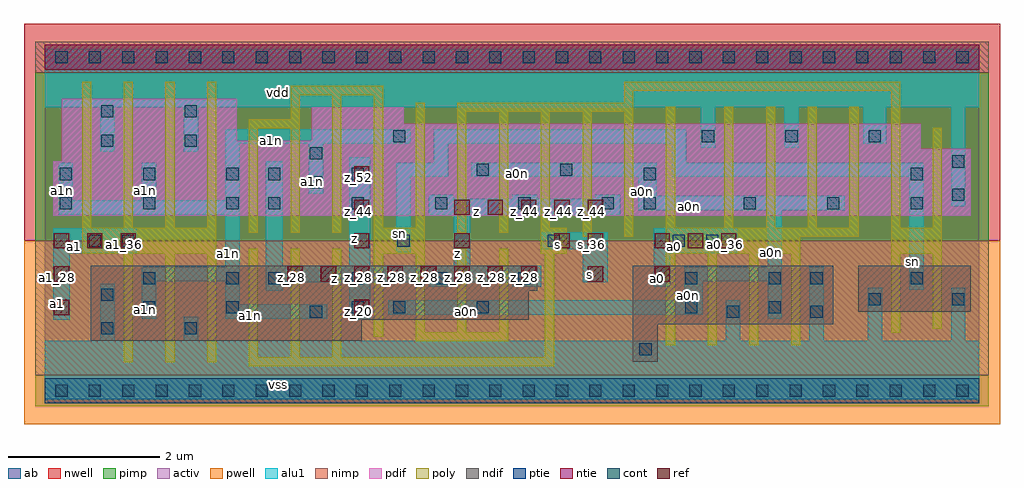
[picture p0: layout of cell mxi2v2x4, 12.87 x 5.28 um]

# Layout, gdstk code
import gdstk
lib = gdstk.Library(unit=1e-6, precision=2.5e-09)
def R(c, l, rs):  # rectangles x0, y0, x1, y1
    for r in rs: c.add(gdstk.rectangle(r[:2], r[2:], *l))
def A(c, l, x, y, w, h, nx, ny, dx, dy):  # array of equal rectangles
    R(c, l, [(x+i*dx, y+j*dy, x+i*dx+w, y+j*dy+h) for i in range(nx) for j in range(ny)])
ndif = (3, 0)
pdif = (4, 0)
ntie = (5, 0)
ptie = (6, 0)
ref = (24, 0)
cont = (25, 0)
pwell = (41, 0)
nwell = (42, 0)
activ = (43, 0)
pimp = (44, 0)
nimp = (45, 0)
poly = (46, 0)
alu1 = (49, 0)
ab = (63, 0)

mxi2v2x4 = lib.new_cell('mxi2v2x4')
R(mxi2v2x4, ndif, [(7.755,0.385,8.085,0.88), (0.605,0.66,4.18,0.935), (7.755,0.88,10.395,1.65), (0.605,0.935,6.38,1.32), (10.725,1.045,12.21,1.65), (0.605,1.32,6.49,1.65)])
R(mxi2v2x4, pdif, [(0.11,2.31,12.21,3.025), (0.22,3.025,12.21,3.19), (0.22,3.19,11.55,3.3), (0.22,3.3,2.53,3.85), (3.52,3.3,11.55,3.52), (3.52,3.52,4.73,3.74)])
R(mxi2v2x4, ntie, [(0,4.235,12.32,4.565)])
R(mxi2v2x4, ptie, [(0,-0.165,12.32,0.165)])
A(mxi2v2x4, ref, 3.2, 1.44, 0.2, 0.2, 8, 1, 0.44, 0)
A(mxi2v2x4, ref, 0.12, 1.88, 0.2, 0.2, 3, 1, 0.44, 0)
A(mxi2v2x4, ref, 4.08, 1.88, 0.2, 0.2, 3, 1, 1.32, 0)
A(mxi2v2x4, ref, 8.04, 1.88, 0.2, 0.2, 3, 1, 0.44, 0)
A(mxi2v2x4, ref, 5.4, 2.32, 0.2, 0.2, 5, 1, 0.44, 0)
R(mxi2v2x4, ref, [(0.12,1,0.32,1.2), (4.08,1,4.28,1.2), (0.12,1.44,0.32,1.64), (7.16,1.44,7.36,1.64), (8.04,1.44,8.24,1.64), (7.16,1.88,7.36,2.08), (4.08,2.32,4.28,2.52), (4.08,2.76,4.28,2.96)])
A(mxi2v2x4, cont, 0.14, -0.08, 0.16, 0.16, 28, 2, 0.44, 4.4)
A(mxi2v2x4, cont, 2.945, 1.405, 0.16, 0.16, 4, 1, 1.1, 0)
A(mxi2v2x4, cont, 0.195, 2.395, 0.16, 0.16, 3, 2, 1.1, 0.385)
A(mxi2v2x4, cont, 2.945, 2.395, 0.16, 0.16, 5, 1, 1.1, 0)
A(mxi2v2x4, cont, 9.215, 2.395, 0.16, 0.16, 3, 1, 1.1, 0)
A(mxi2v2x4, cont, 8.665, 3.275, 0.16, 0.16, 3, 1, 1.1, 0)
R(mxi2v2x4, cont, [(7.84,0.47,8,0.63), (0.745,0.745,0.905,0.905), (1.845,0.745,2.005,0.905), (3.495,0.965,3.655,1.125), (8.995,0.965,9.155,1.125), (10.095,0.965,10.255,1.125), (1.295,1.02,1.455,1.18), (2.395,1.02,2.555,1.18), (4.045,1.02,4.205,1.18), (4.595,1.02,4.755,1.18), (5.695,1.02,5.855,1.18), (8.445,1.02,8.605,1.18), (9.545,1.02,9.705,1.18), (10.865,1.13,11.025,1.29), (11.965,1.13,12.125,1.29), (0.745,1.185,0.905,1.345), (1.295,1.405,1.455,1.565), (2.395,1.405,2.555,1.565), (8.445,1.405,8.605,1.565), (9.545,1.405,9.705,1.565), (10.095,1.405,10.255,1.565), (11.415,1.405,11.575,1.565), (0.58,1.9,0.74,2.06), (1.02,1.9,1.18,2.06), (4.65,1.9,4.81,2.06), (6.63,1.9,6.79,2.06), (8.28,1.9,8.44,2.06), (8.72,1.9,8.88,2.06), (7.895,2.395,8.055,2.555), (11.965,2.505,12.125,2.665), (3.495,2.67,3.655,2.83), (2.945,2.78,3.105,2.94), (4.045,2.78,4.205,2.94), (7.895,2.78,8.055,2.94), (11.415,2.78,11.575,2.94), (5.695,2.835,5.855,2.995), (6.795,2.835,6.955,2.995), (11.965,2.945,12.125,3.105), (3.495,3.055,3.655,3.215), (0.745,3.22,0.905,3.38), (1.845,3.22,2.005,3.38), (4.595,3.275,4.755,3.435), (0.745,3.605,0.905,3.765), (1.845,3.605,2.005,3.765)])
R(mxi2v2x4, pwell, [(-0.275,-0.44,12.595,1.98)])
R(mxi2v2x4, nwell, [(-0.275,1.98,12.595,4.84)])
R(mxi2v2x4, activ, [(0,-0.165,12.32,0.165), (7.755,0.385,8.085,0.88), (0.605,0.66,4.18,0.935), (7.755,0.88,10.395,1.65), (0.605,0.935,6.38,1.32), (10.725,1.045,12.21,1.65), (0.605,1.32,6.49,1.65), (0.11,2.31,12.21,3.025), (0.22,3.025,12.21,3.19), (0.22,3.19,11.55,3.3), (0.22,3.3,2.53,3.85), (3.52,3.3,11.55,3.52), (3.52,3.52,4.73,3.74), (0,4.235,12.32,4.565)])
R(mxi2v2x4, pimp, [(-0.125,-0.205,12.445,0.205), (-0.125,1.98,12.445,4.195)])
R(mxi2v2x4, nimp, [(-0.125,0.205,12.445,1.98), (-0.125,4.195,12.445,4.605)])
A(mxi2v2x4, poly, 1.04, 0.38, 0.12, 1.43, 3, 1, 0.55, 0)
A(mxi2v2x4, poly, 2.69, 0.445, 0.12, 1.43, 3, 1, 0.55, 0)
A(mxi2v2x4, poly, 8.19, 0.6, 0.12, 1.21, 4, 1, 0.55, 0)
A(mxi2v2x4, poly, 0.49, 2.15, 0.12, 1.925, 4, 1, 0.55, 0)
A(mxi2v2x4, poly, 8.96, 2.15, 0.12, 1.595, 4, 1, 0.55, 0)
R(mxi2v2x4, poly, [(2.69,0.325,6.715,0.445), (6.595,0.445,6.715,1.81), (4.89,0.655,6.11,0.775), (4.34,0.71,4.46,1.81), (11.16,0.765,11.28,1.81), (4.89,0.775,5.01,1.81), (5.44,0.775,5.56,1.875), (5.99,0.775,6.11,1.875), (11.71,0.82,11.83,1.81), (0.49,1.81,2.26,2.15), (4.34,1.81,5.01,2.15), (6.54,1.81,6.88,2.15), (8.19,1.81,9.96,2.03), (11.16,1.81,11.83,2.15), (7.09,2.03,7.21,3.68), (7.64,2.03,7.76,3.68), (8.19,2.03,10.73,2.15), (2.69,2.085,2.81,3.46), (3.24,2.085,3.36,3.46), (3.79,2.085,3.91,3.9), (5.44,2.085,5.56,3.68), (5.99,2.085,6.11,3.68), (4.34,2.15,4.46,3.9), (4.89,2.15,5.01,3.8), (6.54,2.15,6.66,3.68), (8.19,2.15,8.31,3.745), (11.16,2.15,11.28,3.955), (11.71,2.15,11.83,3.47), (2.69,3.46,3.36,3.58), (3.24,3.58,3.36,3.9), (5.44,3.68,7.76,3.8), (7.64,3.8,7.76,3.955), (3.24,3.9,4.46,4.02), (7.64,3.955,11.28,4.075)])
A(mxi2v2x4, alu1, 5.06, 2.53, 0.33, 0.055, 3, 1, 1.1, 0)
R(mxi2v2x4, alu1, [(0,-0.11,12.32,0.66), (0.73,0.66,0.92,1.415), (1.83,0.66,2.02,0.975), (8.98,0.66,9.17,1.195), (10.08,0.66,10.27,1.635), (10.85,0.66,11.04,1.36), (11.95,0.66,12.14,1.36), (0.11,0.935,0.33,1.815), (4.015,0.935,4.29,1.43), (1.28,0.95,1.47,1.445), (2.38,0.95,3.725,1.14), (9.53,0.95,9.72,1.445), (4.525,1.005,8.675,1.195), (2.38,1.14,2.57,1.445), (8.43,1.195,8.675,1.445), (2.915,1.32,3.135,1.43), (11.4,1.335,11.59,2.82), (5.06,1.375,5.39,1.43), (6.16,1.375,6.545,1.43), (8.03,1.375,8.25,1.815), (2.915,1.43,6.545,1.65), (7.095,1.43,7.425,1.87), (1.28,1.445,2.57,1.635), (8.43,1.445,9.72,1.635), (2.38,1.635,2.57,2.325), (9.53,1.635,9.72,2.38), (2.915,1.65,3.135,3.025), (4.015,1.65,4.29,3.08), (5.39,1.65,5.61,2.31), (0.11,1.815,1.21,2.145), (8.03,1.815,9.13,2.145), (4.635,1.83,4.825,2.82), (6.545,1.87,7.425,2.09), (5.06,2.31,7.59,2.53), (0.18,2.325,2.57,2.515), (7.825,2.38,10.545,2.57), (11.95,2.435,12.14,3.74), (0.18,2.515,0.37,3.01), (1.28,2.515,1.47,3.01), (2.38,2.515,2.57,3.26), (7.825,2.57,8.07,2.82), (3.48,2.6,3.67,3.26), (4.635,2.82,5.32,3.01), (5.625,2.82,8.07,3.01), (8.265,2.82,11.59,3.01), (5.13,3.01,5.32,3.26), (8.265,3.01,8.455,3.26), (0.73,3.15,0.92,3.74), (1.83,3.15,2.02,3.74), (8.65,3.205,8.84,3.74), (9.75,3.205,9.94,3.74), (2.38,3.26,4.825,3.45), (5.13,3.26,8.455,3.45), (10.795,3.26,11.095,3.74), (0,3.74,12.32,4.51)])
R(mxi2v2x4, ab, [(0,0,12.32,4.4)])
mxi2v2x4.add(gdstk.Label('vss', (3.08,0.0825), layer=49, texttype=0))
mxi2v2x4.add(gdstk.Label('sn', (11.4475,1.705), layer=49, texttype=0))
mxi2v2x4.add(gdstk.Label('a0n', (5.5625,1.0525), layer=49, texttype=0))
mxi2v2x4.add(gdstk.Label('a0n', (8.49,1.2575), layer=49, texttype=0))
mxi2v2x4.add(gdstk.Label('a0n', (9.5775,1.82), layer=49, texttype=0))
mxi2v2x4.add(gdstk.Label('a0', (8.085,1.485), layer=49, texttype=0))
mxi2v2x4.add(gdstk.Label('a1n', (2.715,0.9975), layer=49, texttype=0))
mxi2v2x4.add(gdstk.Label('a0', (8.305,1.8975), layer=49, texttype=0))
mxi2v2x4.add(gdstk.Label('s', (7.1775,1.54), layer=49, texttype=0))
mxi2v2x4.add(gdstk.Label('z', (3.8225,1.485), layer=49, texttype=0))
mxi2v2x4.add(gdstk.Label('s', (6.765,1.925), layer=49, texttype=0))
mxi2v2x4.add(gdstk.Label('z', (5.445,1.815), layer=49, texttype=0))
mxi2v2x4.add(gdstk.Label('a0n', (8.505,2.4275), layer=49, texttype=0))
mxi2v2x4.add(gdstk.Label('a0n', (7.885,2.6325), layer=49, texttype=0))
mxi2v2x4.add(gdstk.Label('z', (5.6925,2.365), layer=49, texttype=0))
mxi2v2x4.add(gdstk.Label('sn', (4.6825,2.0775), layer=49, texttype=0))
mxi2v2x4.add(gdstk.Label('a0n', (6.235,2.8675), layer=49, texttype=0))
mxi2v2x4.add(gdstk.Label('z', (4.0825,2.0075), layer=49, texttype=0))
mxi2v2x4.add(gdstk.Label('a1n', (3.5275,2.765), layer=49, texttype=0))
mxi2v2x4.add(gdstk.Label('a1n', (1.3275,1.0725), layer=49, texttype=0))
mxi2v2x4.add(gdstk.Label('a1n', (2.4275,1.8075), layer=49, texttype=0))
mxi2v2x4.add(gdstk.Label('a1', (0.165,1.155), layer=49, texttype=0))
mxi2v2x4.add(gdstk.Label('a1', (0.385,1.8975), layer=49, texttype=0))
mxi2v2x4.add(gdstk.Label('a1n', (1.3275,2.6375), layer=49, texttype=0))
mxi2v2x4.add(gdstk.Label('a1n', (0.2275,2.6375), layer=49, texttype=0))
mxi2v2x4.add(gdstk.Label('a1n', (2.99,3.3075), layer=49, texttype=0))
mxi2v2x4.add(gdstk.Label('vdd', (3.08,3.9325), layer=49, texttype=0))
mxi2v2x4.add(gdstk.Label('z_20', (4.13,1.05), layer=24, texttype=0))
mxi2v2x4.add(gdstk.Label('s_36', (7.21,1.93), layer=24, texttype=0))
mxi2v2x4.add(gdstk.Label('z_28', (3.25,1.49), layer=24, texttype=0))
mxi2v2x4.add(gdstk.Label('z_28', (3.69,1.49), layer=24, texttype=0))
mxi2v2x4.add(gdstk.Label('z_28', (4.13,1.49), layer=24, texttype=0))
mxi2v2x4.add(gdstk.Label('z_28', (4.57,1.49), layer=24, texttype=0))
mxi2v2x4.add(gdstk.Label('a1_36', (1.05,1.93), layer=24, texttype=0))
mxi2v2x4.add(gdstk.Label('a1_36', (0.61,1.93), layer=24, texttype=0))
mxi2v2x4.add(gdstk.Label('a1_36', (0.17,1.93), layer=24, texttype=0))
mxi2v2x4.add(gdstk.Label('a1_28', (0.17,1.49), layer=24, texttype=0))
mxi2v2x4.add(gdstk.Label('a1_20', (0.17,1.05), layer=24, texttype=0))
mxi2v2x4.add(gdstk.Label('z_36', (4.13,1.93), layer=24, texttype=0))
mxi2v2x4.add(gdstk.Label('z_44', (4.13,2.37), layer=24, texttype=0))
mxi2v2x4.add(gdstk.Label('z_52', (4.13,2.81), layer=24, texttype=0))
mxi2v2x4.add(gdstk.Label('z_28', (5.01,1.49), layer=24, texttype=0))
mxi2v2x4.add(gdstk.Label('z_28', (5.45,1.49), layer=24, texttype=0))
mxi2v2x4.add(gdstk.Label('z_36', (5.45,1.93), layer=24, texttype=0))
mxi2v2x4.add(gdstk.Label('z_44', (5.45,2.37), layer=24, texttype=0))
mxi2v2x4.add(gdstk.Label('s_28', (7.21,1.49), layer=24, texttype=0))
mxi2v2x4.add(gdstk.Label('a0_36', (8.09,1.93), layer=24, texttype=0))
mxi2v2x4.add(gdstk.Label('a0_36', (8.53,1.93), layer=24, texttype=0))
mxi2v2x4.add(gdstk.Label('s_36', (6.77,1.93), layer=24, texttype=0))
mxi2v2x4.add(gdstk.Label('z_44', (5.89,2.37), layer=24, texttype=0))
mxi2v2x4.add(gdstk.Label('z_44', (6.33,2.37), layer=24, texttype=0))
mxi2v2x4.add(gdstk.Label('z_44', (6.77,2.37), layer=24, texttype=0))
mxi2v2x4.add(gdstk.Label('z_44', (7.21,2.37), layer=24, texttype=0))
mxi2v2x4.add(gdstk.Label('a0_28', (8.09,1.49), layer=24, texttype=0))
mxi2v2x4.add(gdstk.Label('z_28', (5.89,1.49), layer=24, texttype=0))
mxi2v2x4.add(gdstk.Label('z_28', (6.33,1.49), layer=24, texttype=0))
mxi2v2x4.add(gdstk.Label('a0_36', (8.97,1.93), layer=24, texttype=0))

lib.write_gds('mxi2v2x4.gds')
